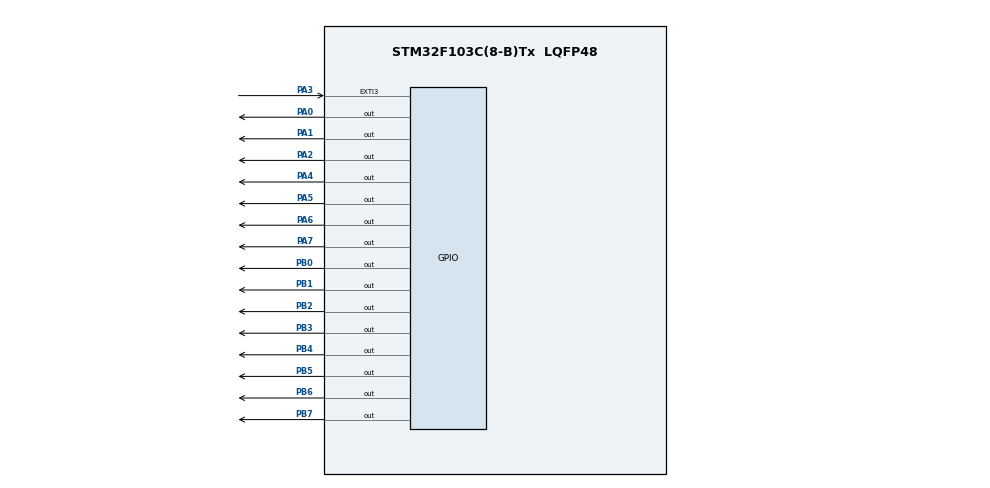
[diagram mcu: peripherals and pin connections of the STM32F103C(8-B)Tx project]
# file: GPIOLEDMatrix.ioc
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Mcu.Family=STM32F1
Mcu.Name=STM32F103C(8-B)Tx
Mcu.Package=LQFP48
NVIC.PriorityGroup=NVIC_PRIORITYGROUP_4
PA0-WKUP.Signal=GPIO_Output
PA1.Signal=GPIO_Output
PA2.Signal=GPIO_Output
PA3.Signal=GPXTI3
PA4.Signal=GPIO_Output
PA5.Signal=GPIO_Output
PA6.Signal=GPIO_Output
PA7.Signal=GPIO_Output
PB0.Signal=GPIO_Output
PB1.Signal=GPIO_Output
PB2.Signal=GPIO_Output
PB3.Signal=GPIO_Output
PB4.Signal=GPIO_Output
PB5.Signal=GPIO_Output
PB6.Signal=GPIO_Output
PB7.Signal=GPIO_Output
ProjectManager.HeapSize=0x200
ProjectManager.StackSize=0x400
ProjectManager.TargetToolchain=MDK-ARM V5.32
RCC.APB1Freq_Value=8000000
RCC.APB2Freq_Value=8000000
VP_SYS_VS_ND.Mode=No_Debug
board=custom

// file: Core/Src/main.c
/* USER CODE BEGIN Header */
/**
  ******************************************************************************
  * @file           : main.c
  * @brief          : Main program body
  ******************************************************************************
  * @attention
  *
  * Copyright (c) 2024 STMicroelectronics.
  * All rights reserved.
  *
  * This software is licensed under terms that can be found in the LICENSE file
  * in the root directory of this software component.
  * If no LICENSE file comes with this software, it is provided AS-IS.
  *
  ******************************************************************************
  */
/* USER CODE END Header */
#include "main.h"

void SystemClock_Config(void);
static void MX_GPIO_Init(void);

int main(void)
{

  /* MCU Configuration--------------------------------------------------------*/

  /* Reset of all peripherals, Initializes the Flash interface and the Systick. */
  HAL_Init();

  /* Configure the system clock */
  SystemClock_Config();

  /* Initialize all configured peripherals */
  MX_GPIO_Init();

  /* Infinite loop */
  while (1)
  {

    /* USER CODE BEGIN 3 */

		GPIOA->ODR=0b11111111;
		GPIOB->ODR=0b11111110;
		HAL_Delay(1);
		GPIOA->ODR=0;
		GPIOB->ODR=0;
		HAL_Delay(1);
		GPIOA->ODR=0b1;
		GPIOB->ODR=0;
		HAL_Delay(1);
		GPIOA->ODR=0;
		GPIOB->ODR=0;
		HAL_Delay(1);
		GPIOA->ODR=0b11111111;
		GPIOB->ODR=0b01111111;
		HAL_Delay(1);
		GPIOA->ODR=0;
		GPIOB->ODR=0;
		HAL_Delay(1);
  }
  /* USER CODE END 3 */
}

void SystemClock_Config(void)
{
  RCC_OscInitTypeDef RCC_OscInitStruct = {0};
  RCC_ClkInitTypeDef RCC_ClkInitStruct = {0};

  /** Initializes the RCC Oscillators according to the specified parameters
  * in the RCC_OscInitTypeDef structure.
  */
  RCC_OscInitStruct.OscillatorType = RCC_OSCILLATORTYPE_HSI;
  RCC_OscInitStruct.HSIState = RCC_HSI_ON;
  RCC_OscInitStruct.HSICalibrationValue = RCC_HSICALIBRATION_DEFAULT;
  RCC_OscInitStruct.PLL.PLLState = RCC_PLL_NONE;
  if (HAL_RCC_OscConfig(&RCC_OscInitStruct) != HAL_OK)
  {
    Error_Handler();
  }

  /** Initializes the CPU, AHB and APB buses clocks
  */
  RCC_ClkInitStruct.ClockType = RCC_CLOCKTYPE_HCLK|RCC_CLOCKTYPE_SYSCLK
                              |RCC_CLOCKTYPE_PCLK1|RCC_CLOCKTYPE_PCLK2;
  RCC_ClkInitStruct.SYSCLKSource = RCC_SYSCLKSOURCE_HSI;
  RCC_ClkInitStruct.AHBCLKDivider = RCC_SYSCLK_DIV1;
  RCC_ClkInitStruct.APB1CLKDivider = RCC_HCLK_DIV1;
  RCC_ClkInitStruct.APB2CLKDivider = RCC_HCLK_DIV1;

  if (HAL_RCC_ClockConfig(&RCC_ClkInitStruct, FLASH_LATENCY_0) != HAL_OK)
  {
    Error_Handler();
  }
}

static void MX_GPIO_Init(void)
{
  GPIO_InitTypeDef GPIO_InitStruct = {0};

  /* GPIO Ports Clock Enable */
  __HAL_RCC_GPIOA_CLK_ENABLE();
  __HAL_RCC_GPIOB_CLK_ENABLE();

  /*Configure GPIO pin Output Level */
  HAL_GPIO_WritePin(GPIOA, GPIO_PIN_0|GPIO_PIN_1|GPIO_PIN_2|GPIO_PIN_4
                          |GPIO_PIN_5|GPIO_PIN_6|GPIO_PIN_7, GPIO_PIN_RESET);

  /*Configure GPIO pin Output Level */
  HAL_GPIO_WritePin(GPIOB, GPIO_PIN_0|GPIO_PIN_1|GPIO_PIN_2|GPIO_PIN_3
                          |GPIO_PIN_4|GPIO_PIN_5|GPIO_PIN_6|GPIO_PIN_7, GPIO_PIN_RESET);

  /*Configure GPIO pins : PA0 PA1 PA2 PA4
                           PA5 PA6 PA7 */
  GPIO_InitStruct.Pin = GPIO_PIN_0|GPIO_PIN_1|GPIO_PIN_2|GPIO_PIN_4
                          |GPIO_PIN_5|GPIO_PIN_6|GPIO_PIN_7;
  GPIO_InitStruct.Mode = GPIO_MODE_OUTPUT_PP;
  GPIO_InitStruct.Pull = GPIO_NOPULL;
  GPIO_InitStruct.Speed = GPIO_SPEED_FREQ_LOW;
  HAL_GPIO_Init(GPIOA, &GPIO_InitStruct);

  /*Configure GPIO pin : PA3 */
  GPIO_InitStruct.Pin = GPIO_PIN_3;
  GPIO_InitStruct.Mode = GPIO_MODE_IT_RISING;
  GPIO_InitStruct.Pull = GPIO_NOPULL;
  HAL_GPIO_Init(GPIOA, &GPIO_InitStruct);

  /*Configure GPIO pins : PB0 PB1 PB2 PB3
                           PB4 PB5 PB6 PB7 */
  GPIO_InitStruct.Pin = GPIO_PIN_0|GPIO_PIN_1|GPIO_PIN_2|GPIO_PIN_3
                          |GPIO_PIN_4|GPIO_PIN_5|GPIO_PIN_6|GPIO_PIN_7;
  GPIO_InitStruct.Mode = GPIO_MODE_OUTPUT_PP;
  GPIO_InitStruct.Pull = GPIO_NOPULL;
  GPIO_InitStruct.Speed = GPIO_SPEED_FREQ_LOW;
  HAL_GPIO_Init(GPIOB, &GPIO_InitStruct);

}

void Error_Handler(void)
{
  __disable_irq();
  while (1)
  {
  }
}
